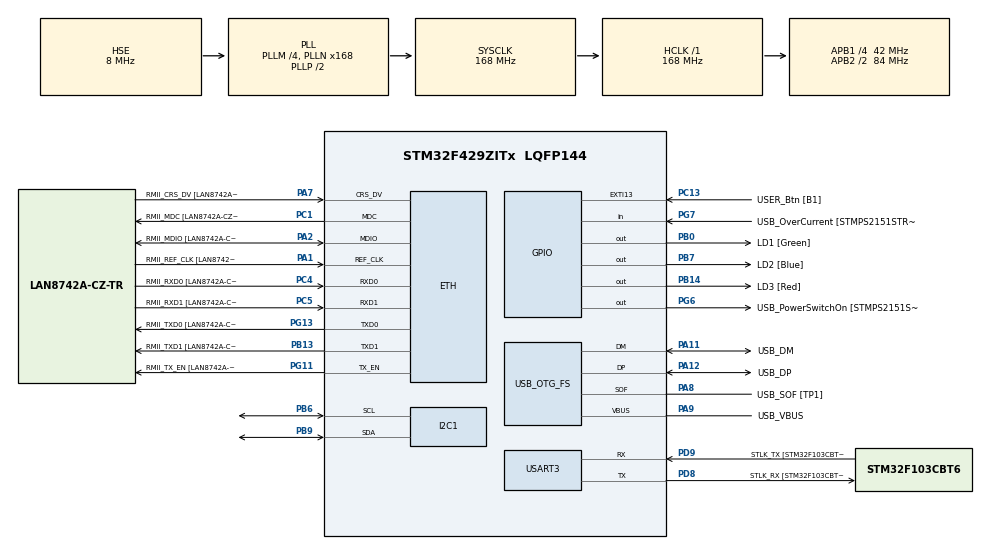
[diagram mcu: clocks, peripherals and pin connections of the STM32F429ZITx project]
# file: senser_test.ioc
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ETH.MediaInterface=HAL_ETH_RMII_MODE
ETH.PHY_Name=LAN8742A_PHY_ADDRESS
ETH.PHY_Value=0
ETH.PhyAddress=0
Mcu.Family=STM32F4
Mcu.Name=STM32F429ZITx
Mcu.Package=LQFP144
NVIC.PriorityGroup=NVIC_PRIORITYGROUP_4
PA1.GPIO_Label=RMII_REF_CLK [LAN8742A-CZ-TR_REFCLK0]
PA1.Mode=RMII
PA1.Signal=ETH_REF_CLK
PA10.GPIO_Label=USB_ID
PA10.Signal=USB_OTG_FS_ID
PA11.GPIO_Label=USB_DM
PA11.Mode=Device_Only
PA11.Signal=USB_OTG_FS_DM
PA12.GPIO_Label=USB_DP
PA12.Mode=Device_Only
PA12.Signal=USB_OTG_FS_DP
PA13.GPIO_Label=TMS
PA13.Mode=Serial_Wire
PA13.Signal=SYS_JTMS-SWDIO
PA14.GPIO_Label=TCK
PA14.Mode=Serial_Wire
PA14.Signal=SYS_JTCK-SWCLK
PA2.GPIO_Label=RMII_MDIO [LAN8742A-CZ-TR_MDIO]
PA2.Mode=RMII
PA2.Signal=ETH_MDIO
PA7.GPIO_Label=RMII_CRS_DV [LAN8742A-CZ-TR_CRS_DV]
PA7.Mode=RMII
PA7.Signal=ETH_CRS_DV
PA8.GPIO_Label=USB_SOF [TP1]
PA8.Mode=Activate_SOF_FS
PA8.Signal=USB_OTG_FS_SOF
PA9.GPIO_Label=USB_VBUS
PA9.Mode=Activate_VBUS
PA9.Signal=USB_OTG_FS_VBUS
PB0.GPIO_Label=LD1 [Green]
PB0.Signal=GPIO_Output
PB13.GPIO_Label=RMII_TXD1 [LAN8742A-CZ-TR_TXD1]
PB13.Mode=RMII
PB13.Signal=ETH_TXD1
PB14.GPIO_Label=LD3 [Red]
PB14.Signal=GPIO_Output
PB6.Mode=I2C
PB6.Signal=I2C1_SCL
PB7.GPIO_Label=LD2 [Blue]
PB7.Signal=GPIO_Output
PB9.Mode=I2C
PB9.Signal=I2C1_SDA
PC1.GPIO_Label=RMII_MDC [LAN8742A-CZ-TR_MDC]
PC1.Mode=RMII
PC1.Signal=ETH_MDC
PC13.GPIO_Label=USER_Btn [B1]
PC13.Signal=GPXTI13
PC14/OSC32_IN.Mode=LSE-External-Oscillator
PC14/OSC32_IN.Signal=RCC_OSC32_IN
PC15/OSC32_OUT.Mode=LSE-External-Oscillator
PC15/OSC32_OUT.Signal=RCC_OSC32_OUT
PC4.GPIO_Label=RMII_RXD0 [LAN8742A-CZ-TR_RXD0]
PC4.Mode=RMII
PC4.Signal=ETH_RXD0
PC5.GPIO_Label=RMII_RXD1 [LAN8742A-CZ-TR_RXD1]
PC5.Mode=RMII
PC5.Signal=ETH_RXD1
PD8.GPIO_Label=STLK_RX [STM32F103CBT6_PA3]
PD8.Mode=Asynchronous
PD8.Signal=USART3_TX
PD9.GPIO_Label=STLK_TX [STM32F103CBT6_PA2]
PD9.Mode=Asynchronous
PD9.Signal=USART3_RX
PG11.GPIO_Label=RMII_TX_EN [LAN8742A-CZ-TR_TXEN]
PG11.Mode=RMII
PG11.Signal=ETH_TX_EN
PG13.GPIO_Label=RMII_TXD0 [LAN8742A-CZ-TR_TXD0]
PG13.Mode=RMII
PG13.Signal=ETH_TXD0
PG6.GPIO_Label=USB_PowerSwitchOn [STMPS2151STR_EN]
PG6.Signal=GPIO_Output
PG7.GPIO_Label=USB_OverCurrent [STMPS2151STR_FAULT]
PG7.Signal=GPIO_Input
PH0/OSC_IN.GPIO_Label=MCO [STM32F103CBT6_PA8]
PH0/OSC_IN.Mode=HSE-External-Clock-Source
PH0/OSC_IN.Signal=RCC_OSC_IN
PH1/OSC_OUT.Mode=HSE-External-Clock-Source
PH1/OSC_OUT.Signal=RCC_OSC_OUT
ProjectManager.HeapSize=0x200
ProjectManager.StackSize=0x400
ProjectManager.TargetToolchain=STM32CubeIDE
RCC.48MHZClocksFreq_Value=48000000
RCC.AHBFreq_Value=168000000
RCC.APB1CLKDivider=RCC_HCLK_DIV4
RCC.APB1Freq_Value=42000000
RCC.APB1TimFreq_Value=84000000
RCC.APB2CLKDivider=RCC_HCLK_DIV2
RCC.APB2Freq_Value=84000000
RCC.APB2TimCLKDivider=2
RCC.APB2TimFreq_Value=168000000
RCC.CortexFreq_Value=168000000
RCC.HCLKFreq_Value=168000000
RCC.HSE_VALUE=8000000
RCC.HSI_VALUE=16000000
RCC.PLLM=4
RCC.PLLMUL=RCC_PLL_MUL9
RCC.PLLN=168
RCC.PLLQ=7
RCC.PRESCALERUSB=RCC_USBCLKSOURCE_PLL_DIV1_5
RCC.SYSCLKFreq_VALUE=168000000
RCC.SYSCLKSource=RCC_SYSCLKSOURCE_PLLCLK
RCC.SYSCLKSourceVirtual=RCC_SYSCLKSOURCE_PLLCLK
RCC.USBFreq_Value=48000000
RCC.VCOOutputFreq_Value=336000000
USART3.VirtualMode=VM_ASYNC
USB_OTG_FS.VirtualMode=Device_Only
board=NUCLEO-F429ZI

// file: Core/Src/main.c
/* USER CODE BEGIN Header */
/**
  ******************************************************************************
  * @file           : main.c
  * @brief          : Main program body
  ******************************************************************************
  * @attention
  *
  * Copyright (c) 2026 STMicroelectronics.
  * All rights reserved.
  *
  * This software is licensed under terms that can be found in the LICENSE file
  * in the root directory of this software component.
  * If no LICENSE file comes with this software, it is provided AS-IS.
  *
  ******************************************************************************
  */
/* USER CODE END Header */
#include "main.h"
#include "string.h"
#include "uart.h"

ETH_TxPacketConfig TxConfig;
ETH_DMADescTypeDef  DMARxDscrTab[ETH_RX_DESC_CNT]; /* Ethernet Rx DMA Descriptors */
ETH_DMADescTypeDef  DMATxDscrTab[ETH_TX_DESC_CNT]; /* Ethernet Tx DMA Descriptors */

ETH_HandleTypeDef heth;

I2C_HandleTypeDef hi2c1;

UART_HandleTypeDef huart3;

PCD_HandleTypeDef hpcd_USB_OTG_FS;

/* USER CODE BEGIN PV */
// A0=GND, A1=GND 일 때 7-bit 주소는 0x40
// HAL I2C 함수를 위해 왼쪽으로 1비트 시프트하여 0x80 사용
#define INA3221_ADDR    (0x40) // 기본 주소 0x40
#define REG_CH1_BUS_VOLT 0x02       // 채널 1 버스 전압 레지스터

// INA226 주요 레지스터 주소
#define REG_CONFIG           0x00
#define REG_BUS_VOLTAGE      0x02 // 버스 전압 레지스터
#define REG_MANUFACTURE_ID   0xFE
#define REG_DIE_ID           0xFF
/* USER CODE END PV */

void SystemClock_Config(void);
static void MX_GPIO_Init(void);
static void MX_ETH_Init(void);
static void MX_I2C1_Init(void);
static void MX_USART3_UART_Init(void);
static void MX_USB_OTG_FS_PCD_Init(void);
/* USER CODE BEGIN PFP */
uint16_t INA226_ReadReg(uint8_t regAddr);
/* USER CODE END PFP */

int main(void)
{

  /* MCU Configuration--------------------------------------------------------*/

  /* Reset of all peripherals, Initializes the Flash interface and the Systick. */
  HAL_Init();

  /* Configure the system clock */
  SystemClock_Config();

  /* Initialize all configured peripherals */
  MX_GPIO_Init();
  MX_ETH_Init();
  MX_I2C1_Init();

  MX_I2C1_Init();
  MX_USART3_UART_Init();
  MX_USB_OTG_FS_PCD_Init();
  /* USER CODE BEGIN 2 */
  uint8_t rxData[2];
  uint16_t raw_data;
  float bus_voltage_ch1;

  UART3_Printf("--- INA3221 Data Reading Start ---\r\n");
  /* USER CODE END 2 */

  /* USER CODE BEGIN WHILE */
  while (1)
  {
      uint8_t rxData[2];
      uint16_t raw_bus;
      uint16_t raw_shunt;

      // 1. 버스 전압 읽기
      if (HAL_I2C_Mem_Read(&hi2c1, (0x40 << 1), 0x02, I2C_MEMADD_SIZE_8BIT, rxData, 2, 100) == HAL_OK) {
          raw_bus = (rxData[0] << 8) | rxData[1];
      } else {
          raw_bus = 0xAAAA; // 에러 표시
      }

      // 2. 션트 전압 읽기
      if (HAL_I2C_Mem_Read(&hi2c1, (0x40 << 1), 0x01, I2C_MEMADD_SIZE_8BIT, rxData, 2, 100) == HAL_OK) {
          raw_shunt = (rxData[0] << 8) | rxData[1];
      } else {
          raw_shunt = 0xBBBB; // 에러 표시
      }

      // 3. 결과 출력 (계산 없이 raw 데이터만 16진수로 출력)
      UART3_Printf("Raw Bus: 0x%04X | Raw Shunt: 0x%04X\r\n", raw_bus, raw_shunt);

      HAL_Delay(1000);
  }
  /* USER CODE END WHILE */
  /* Infinite loop */
  /* USER CODE BEGIN WHILE */
  /* USER CODE END 3 */
}

void SystemClock_Config(void)
{
  RCC_OscInitTypeDef RCC_OscInitStruct = {0};
  RCC_ClkInitTypeDef RCC_ClkInitStruct = {0};

  /** Configure the main internal regulator output voltage
  */
  __HAL_RCC_PWR_CLK_ENABLE();
  __HAL_PWR_VOLTAGESCALING_CONFIG(PWR_REGULATOR_VOLTAGE_SCALE1);

  /** Initializes the RCC Oscillators according to the specified parameters
  * in the RCC_OscInitTypeDef structure.
  */
  RCC_OscInitStruct.OscillatorType = RCC_OSCILLATORTYPE_HSE;
  RCC_OscInitStruct.HSEState = RCC_HSE_BYPASS;
  RCC_OscInitStruct.PLL.PLLState = RCC_PLL_ON;
  RCC_OscInitStruct.PLL.PLLSource = RCC_PLLSOURCE_HSE;
  RCC_OscInitStruct.PLL.PLLM = 4;
  RCC_OscInitStruct.PLL.PLLN = 168;
  RCC_OscInitStruct.PLL.PLLP = RCC_PLLP_DIV2;
  RCC_OscInitStruct.PLL.PLLQ = 7;
  if (HAL_RCC_OscConfig(&RCC_OscInitStruct) != HAL_OK)
  {
    Error_Handler();
  }

  /** Initializes the CPU, AHB and APB buses clocks
  */
  RCC_ClkInitStruct.ClockType = RCC_CLOCKTYPE_HCLK|RCC_CLOCKTYPE_SYSCLK
                              |RCC_CLOCKTYPE_PCLK1|RCC_CLOCKTYPE_PCLK2;
  RCC_ClkInitStruct.SYSCLKSource = RCC_SYSCLKSOURCE_PLLCLK;
  RCC_ClkInitStruct.AHBCLKDivider = RCC_SYSCLK_DIV1;
  RCC_ClkInitStruct.APB1CLKDivider = RCC_HCLK_DIV4;
  RCC_ClkInitStruct.APB2CLKDivider = RCC_HCLK_DIV2;

  if (HAL_RCC_ClockConfig(&RCC_ClkInitStruct, FLASH_LATENCY_5) != HAL_OK)
  {
    Error_Handler();
  }
}

static void MX_ETH_Init(void)
{

   static uint8_t MACAddr[6];

  heth.Instance = ETH;
  MACAddr[0] = 0x00;
  MACAddr[1] = 0x80;
  MACAddr[2] = 0xE1;
  MACAddr[3] = 0x00;
  MACAddr[4] = 0x00;
  MACAddr[5] = 0x00;
  heth.Init.MACAddr = &MACAddr[0];
  heth.Init.MediaInterface = HAL_ETH_RMII_MODE;
  heth.Init.TxDesc = DMATxDscrTab;
  heth.Init.RxDesc = DMARxDscrTab;
  heth.Init.RxBuffLen = 1524;

  if (HAL_ETH_Init(&heth) != HAL_OK)
  {
    Error_Handler();
  }

  memset(&TxConfig, 0 , sizeof(ETH_TxPacketConfig));
  TxConfig.Attributes = ETH_TX_PACKETS_FEATURES_CSUM | ETH_TX_PACKETS_FEATURES_CRCPAD;
  TxConfig.ChecksumCtrl = ETH_CHECKSUM_IPHDR_PAYLOAD_INSERT_PHDR_CALC;
  TxConfig.CRCPadCtrl = ETH_CRC_PAD_INSERT;

}

static void MX_I2C1_Init(void)
{

  hi2c1.Instance = I2C1;
  hi2c1.Init.ClockSpeed = 100000;
  hi2c1.Init.DutyCycle = I2C_DUTYCYCLE_2;
  hi2c1.Init.OwnAddress1 = 0;
  hi2c1.Init.AddressingMode = I2C_ADDRESSINGMODE_7BIT;
  hi2c1.Init.DualAddressMode = I2C_DUALADDRESS_DISABLE;
  hi2c1.Init.OwnAddress2 = 0;
  hi2c1.Init.GeneralCallMode = I2C_GENERALCALL_DISABLE;
  hi2c1.Init.NoStretchMode = I2C_NOSTRETCH_DISABLE;
  if (HAL_I2C_Init(&hi2c1) != HAL_OK)
  {
    Error_Handler();
  }

  /** Configure Analogue filter
  */
  if (HAL_I2CEx_ConfigAnalogFilter(&hi2c1, I2C_ANALOGFILTER_ENABLE) != HAL_OK)
  {
    Error_Handler();
  }

  /** Configure Digital filter
  */
  if (HAL_I2CEx_ConfigDigitalFilter(&hi2c1, 0) != HAL_OK)
  {
    Error_Handler();
  }

}

static void MX_USART3_UART_Init(void)
{

  huart3.Instance = USART3;
  huart3.Init.BaudRate = 115200;
  huart3.Init.WordLength = UART_WORDLENGTH_8B;
  huart3.Init.StopBits = UART_STOPBITS_1;
  huart3.Init.Parity = UART_PARITY_NONE;
  huart3.Init.Mode = UART_MODE_TX_RX;
  huart3.Init.HwFlowCtl = UART_HWCONTROL_NONE;
  huart3.Init.OverSampling = UART_OVERSAMPLING_16;
  if (HAL_UART_Init(&huart3) != HAL_OK)
  {
    Error_Handler();
  }

}

static void MX_USB_OTG_FS_PCD_Init(void)
{

  hpcd_USB_OTG_FS.Instance = USB_OTG_FS;
  hpcd_USB_OTG_FS.Init.dev_endpoints = 4;
  hpcd_USB_OTG_FS.Init.speed = PCD_SPEED_FULL;
  hpcd_USB_OTG_FS.Init.dma_enable = DISABLE;
  hpcd_USB_OTG_FS.Init.phy_itface = PCD_PHY_EMBEDDED;
  hpcd_USB_OTG_FS.Init.Sof_enable = ENABLE;
  hpcd_USB_OTG_FS.Init.low_power_enable = DISABLE;
  hpcd_USB_OTG_FS.Init.lpm_enable = DISABLE;
  hpcd_USB_OTG_FS.Init.vbus_sensing_enable = ENABLE;
  hpcd_USB_OTG_FS.Init.use_dedicated_ep1 = DISABLE;
  if (HAL_PCD_Init(&hpcd_USB_OTG_FS) != HAL_OK)
  {
    Error_Handler();
  }

}

static void MX_GPIO_Init(void)
{
  GPIO_InitTypeDef GPIO_InitStruct = {0};

  /* GPIO Ports Clock Enable */
  __HAL_RCC_GPIOC_CLK_ENABLE();
  __HAL_RCC_GPIOH_CLK_ENABLE();
  __HAL_RCC_GPIOA_CLK_ENABLE();
  __HAL_RCC_GPIOB_CLK_ENABLE();
  __HAL_RCC_GPIOD_CLK_ENABLE();
  __HAL_RCC_GPIOG_CLK_ENABLE();

  /*Configure GPIO pin Output Level */
  HAL_GPIO_WritePin(GPIOB, LD1_Pin|LD3_Pin|LD2_Pin, GPIO_PIN_RESET);

  /*Configure GPIO pin Output Level */
  HAL_GPIO_WritePin(USB_PowerSwitchOn_GPIO_Port, USB_PowerSwitchOn_Pin, GPIO_PIN_RESET);

  /*Configure GPIO pin : USER_Btn_Pin */
  GPIO_InitStruct.Pin = USER_Btn_Pin;
  GPIO_InitStruct.Mode = GPIO_MODE_IT_RISING;
  GPIO_InitStruct.Pull = GPIO_NOPULL;
  HAL_GPIO_Init(USER_Btn_GPIO_Port, &GPIO_InitStruct);

  /*Configure GPIO pins : LD1_Pin LD3_Pin LD2_Pin */
  GPIO_InitStruct.Pin = LD1_Pin|LD3_Pin|LD2_Pin;
  GPIO_InitStruct.Mode = GPIO_MODE_OUTPUT_PP;
  GPIO_InitStruct.Pull = GPIO_NOPULL;
  GPIO_InitStruct.Speed = GPIO_SPEED_FREQ_LOW;
  HAL_GPIO_Init(GPIOB, &GPIO_InitStruct);

  /*Configure GPIO pin : USB_PowerSwitchOn_Pin */
  GPIO_InitStruct.Pin = USB_PowerSwitchOn_Pin;
  GPIO_InitStruct.Mode = GPIO_MODE_OUTPUT_PP;
  GPIO_InitStruct.Pull = GPIO_NOPULL;
  GPIO_InitStruct.Speed = GPIO_SPEED_FREQ_LOW;
  HAL_GPIO_Init(USB_PowerSwitchOn_GPIO_Port, &GPIO_InitStruct);

  /*Configure GPIO pin : USB_OverCurrent_Pin */
  GPIO_InitStruct.Pin = USB_OverCurrent_Pin;
  GPIO_InitStruct.Mode = GPIO_MODE_INPUT;
  GPIO_InitStruct.Pull = GPIO_NOPULL;
  HAL_GPIO_Init(USB_OverCurrent_GPIO_Port, &GPIO_InitStruct);

}

void Error_Handler(void)
{
  __disable_irq();
  while (1)
  {
  }
}
